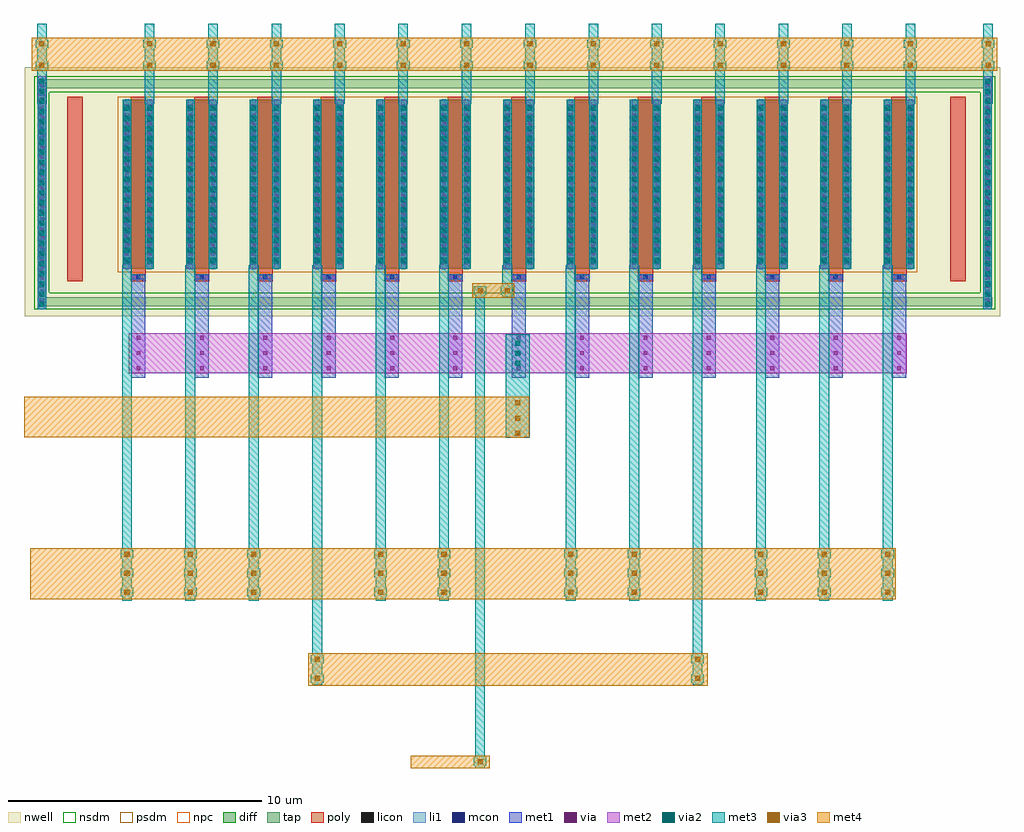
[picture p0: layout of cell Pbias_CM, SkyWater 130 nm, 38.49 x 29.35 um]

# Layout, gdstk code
from math import pi, radians
import gdstk
lib = gdstk.Library(unit=1e-6, precision=1e-09)
def R(c, l, rs):  # rectangles x0, y0, x1, y1
    for r in rs: c.add(gdstk.rectangle(r[:2], r[2:], *l))
def A(c, l, x, y, w, h, nx, ny, dx, dy):  # array of equal rectangles
    R(c, l, [(x+i*dx, y+j*dy, x+i*dx+w, y+j*dy+h) for i in range(nx) for j in range(ny)])
nwell = (64, 20)
diff = (65, 20)
tap = (65, 44)
poly = (66, 20)
licon = (66, 44)
li1 = (67, 20)
mcon = (67, 44)
met1 = (68, 20)
via = (68, 44)
met2 = (69, 20)
via2 = (69, 44)
met3 = (70, 20)
via3 = (70, 44)
met4 = (71, 20)
nsdm = (93, 44)
psdm = (94, 20)
npc = (95, 20)

via_new_4 = lib.new_cell('via_new$4')
A(via_new_4, via2, 0.25, -0.1, 0.2, 0.2, 3, 1, 0.4, 0)
via_new_4.add(gdstk.FlexPath([(0,0),(1.5,0)], 0.33, ends="flush", simple_path=True, layer=70, datatype=20))  # met3
via_new_4.add(gdstk.FlexPath([(0,0),(1.5,0)], 0.33, ends="flush", simple_path=True, layer=69, datatype=20))  # met2

via_new_2 = lib.new_cell('via_new$2')
R(via_new_2, via3, [(0.15,-0.1,0.35,0.1)])
via_new_2.add(gdstk.FlexPath([(0,0),(0.5,0)], 0.33, ends="flush", simple_path=True, layer=70, datatype=20))  # met3
via_new_2.add(gdstk.FlexPath([(0,0),(0.5,0)], 0.33, ends="flush", simple_path=True, layer=71, datatype=20))  # met4

via_new = lib.new_cell('via_new')
R(via_new, via, [(0.175,-0.075,0.325,0.075)])
via_new.add(gdstk.FlexPath([(0,0),(0.5,0)], 0.33, ends="flush", simple_path=True, layer=68, datatype=20))  # met1
via_new.add(gdstk.FlexPath([(0,0),(0.5,0)], 0.33, ends="flush", simple_path=True, layer=69, datatype=20))  # met2

via_new_1 = lib.new_cell('via_new$1')
A(via_new_1, via, 0.215, -0.075, 0.15, 0.15, 20, 1, 0.32, 0)
A(via_new_1, via2, 0.23, -0.1, 0.2, 0.2, 16, 1, 0.4, 0)
via_new_1.add(gdstk.FlexPath([(0,0),(6.66,0)], 0.33, ends="flush", simple_path=True, layer=68, datatype=20))  # met1
via_new_1.add(gdstk.FlexPath([(0,0),(6.66,0)], 0.33, ends="flush", simple_path=True, layer=70, datatype=20))  # met3
via_new_1.add(gdstk.FlexPath([(0,0),(6.66,0)], 0.33, ends="flush", simple_path=True, layer=69, datatype=20))  # met2

via_new_6 = lib.new_cell('via_new$6')
A(via_new_6, licon, 0.138, -0.085, 0.17, 0.17, 26, 1, 0.34, 0)
A(via_new_6, mcon, 0.068, -0.085, 0.17, 0.17, 25, 1, 0.36, 0)
via_new_6.add(gdstk.FlexPath([(0,0),(8.947,0)], 0.33, ends="flush", simple_path=True, layer=68, datatype=20))  # met1
via_new_6.add(gdstk.FlexPath([(-0.125,0),(9.072,0)], 0.58, ends="flush", simple_path=True, layer=64, datatype=20))  # nwell
via_new_6.add(gdstk.FlexPath([(-0.125,0),(9.072,0)], 0.58, ends="flush", simple_path=True, layer=64, datatype=20))  # nwell
via_new_6.add(gdstk.FlexPath([(0,0),(8.947,0)], 0.33, ends="flush", simple_path=True, layer=67, datatype=20))  # li1
via_new_6.add(gdstk.FlexPath([(-0.125,0),(9.072,0)], 0.58, ends="flush", simple_path=True, layer=93, datatype=44))  # nsdm
via_new_6.add(gdstk.FlexPath([(0,0),(8.947,0)], 0.33, ends="flush", simple_path=True, layer=65, datatype=44))  # tap

via_new_8 = lib.new_cell('via_new$8')
A(via_new_8, via, 0.205, -0.075, 0.15, 0.15, 28, 1, 0.32, 0)
A(via_new_8, via2, 0.1, -0.1, 0.2, 0.2, 23, 1, 0.4, 0)
via_new_8.add(gdstk.FlexPath([(0,0),(9.2,0)], 0.33, ends="flush", simple_path=True, layer=68, datatype=20))  # met1
via_new_8.add(gdstk.FlexPath([(0,0),(9.2,0)], 0.33, ends="flush", simple_path=True, layer=70, datatype=20))  # met3
via_new_8.add(gdstk.FlexPath([(0,0),(9.2,0)], 0.33, ends="flush", simple_path=True, layer=69, datatype=20))  # met2

pbias_cm = lib.new_cell('Pbias_CM')
R(pbias_cm, nwell, [(-16.88,-4.069,21.583,5.748)])
A(pbias_cm, diff, -12.99, -2.209, 1.18, 6.66, 13, 1, 2.5, 0)
R(pbias_cm, tap, [(-16.37,-3.678,21.268,-3.326), (-16.37,4.918,21.268,5.27)])
A(pbias_cm, poly, -15.2, -2.694, 0.6, 7.275, 14, 1, 2.5, 0)
R(pbias_cm, poly, [(19.624,-2.694,20.224,4.581)])
A(pbias_cm, licon, -12.485, -2.614, 0.17, 0.17, 13, 1, 2.5, 0)
A(pbias_cm, licon, -12.93, -2.024, 0.17, 0.17, 1, 19, 0, 0.34)
A(pbias_cm, licon, -12.04, -2.024, 0.17, 0.17, 1, 19, 0, 0.34)
A(pbias_cm, licon, -10.43, -2.024, 0.17, 0.17, 1, 19, 0, 0.34)
A(pbias_cm, licon, -9.54, -2.024, 0.17, 0.17, 1, 19, 0, 0.34)
A(pbias_cm, licon, -7.93, -2.024, 0.17, 0.17, 1, 19, 0, 0.34)
A(pbias_cm, licon, -7.04, -2.024, 0.17, 0.17, 1, 19, 0, 0.34)
A(pbias_cm, licon, -5.43, -2.024, 0.17, 0.17, 1, 19, 0, 0.34)
A(pbias_cm, licon, -4.54, -2.024, 0.17, 0.17, 1, 19, 0, 0.34)
A(pbias_cm, licon, -2.93, -2.024, 0.17, 0.17, 1, 19, 0, 0.34)
A(pbias_cm, licon, -2.04, -2.024, 0.17, 0.17, 1, 19, 0, 0.34)
A(pbias_cm, licon, -0.43, -2.024, 0.17, 0.17, 1, 19, 0, 0.34)
A(pbias_cm, licon, 0.46, -2.024, 0.17, 0.17, 1, 19, 0, 0.34)
A(pbias_cm, licon, 2.07, -2.024, 0.17, 0.17, 1, 19, 0, 0.34)
A(pbias_cm, licon, 2.96, -2.024, 0.17, 0.17, 1, 19, 0, 0.34)
A(pbias_cm, licon, 4.57, -2.024, 0.17, 0.17, 1, 19, 0, 0.34)
A(pbias_cm, licon, 5.46, -2.024, 0.17, 0.17, 1, 19, 0, 0.34)
A(pbias_cm, licon, 7.07, -2.024, 0.17, 0.17, 1, 19, 0, 0.34)
A(pbias_cm, licon, 7.96, -2.024, 0.17, 0.17, 1, 19, 0, 0.34)
A(pbias_cm, licon, 9.57, -2.024, 0.17, 0.17, 1, 19, 0, 0.34)
A(pbias_cm, licon, 10.46, -2.024, 0.17, 0.17, 1, 19, 0, 0.34)
A(pbias_cm, licon, 12.07, -2.024, 0.17, 0.17, 1, 19, 0, 0.34)
A(pbias_cm, licon, 12.96, -2.024, 0.17, 0.17, 1, 19, 0, 0.34)
A(pbias_cm, licon, 14.57, -2.024, 0.17, 0.17, 1, 19, 0, 0.34)
A(pbias_cm, licon, 15.46, -2.024, 0.17, 0.17, 1, 19, 0, 0.34)
A(pbias_cm, licon, 17.07, -2.024, 0.17, 0.17, 1, 19, 0, 0.34)
A(pbias_cm, licon, 17.96, -2.024, 0.17, 0.17, 1, 19, 0, 0.34)
A(pbias_cm, li1, -12.7, -2.614, 0.6, 0.17, 13, 1, 2.5, 0)
R(pbias_cm, li1, [(-12.93,-2.229,-12.76,4.471), (-12.04,-2.229,-11.87,4.471), (-10.43,-2.229,-10.26,4.471), (-9.54,-2.229,-9.37,4.471), (-7.93,-2.229,-7.76,4.471), (-7.04,-2.229,-6.87,4.471), (-5.43,-2.229,-5.26,4.471), (-4.54,-2.229,-4.37,4.471), (-2.93,-2.229,-2.76,4.471), (-2.04,-2.229,-1.87,4.471), (-0.43,-2.229,-0.26,4.471), (0.46,-2.229,0.63,4.471), (2.07,-2.229,2.24,4.471), (2.96,-2.229,3.13,4.471), (4.57,-2.229,4.74,4.471), (5.46,-2.229,5.63,4.471), (7.07,-2.229,7.24,4.471), (7.96,-2.229,8.13,4.471), (9.57,-2.229,9.74,4.471), (10.46,-2.229,10.63,4.471), (12.07,-2.229,12.24,4.471), (12.96,-2.229,13.13,4.471), (14.57,-2.229,14.74,4.471), (15.46,-2.229,15.63,4.471), (17.07,-2.229,17.24,4.471), (17.96,-2.229,18.13,4.471)])
A(pbias_cm, mcon, -12.485, -2.614, 0.17, 0.17, 13, 1, 2.5, 0)
A(pbias_cm, mcon, -12.93, -2.024, 0.17, 0.17, 1, 18, 0, 0.36)
A(pbias_cm, mcon, -12.04, -2.024, 0.17, 0.17, 1, 18, 0, 0.36)
A(pbias_cm, mcon, -10.43, -2.024, 0.17, 0.17, 1, 18, 0, 0.36)
A(pbias_cm, mcon, -9.54, -2.024, 0.17, 0.17, 1, 18, 0, 0.36)
A(pbias_cm, mcon, -7.93, -2.024, 0.17, 0.17, 1, 18, 0, 0.36)
A(pbias_cm, mcon, -7.04, -2.024, 0.17, 0.17, 1, 18, 0, 0.36)
A(pbias_cm, mcon, -5.43, -2.024, 0.17, 0.17, 1, 18, 0, 0.36)
A(pbias_cm, mcon, -4.54, -2.024, 0.17, 0.17, 1, 18, 0, 0.36)
A(pbias_cm, mcon, -2.93, -2.024, 0.17, 0.17, 1, 18, 0, 0.36)
A(pbias_cm, mcon, -2.04, -2.024, 0.17, 0.17, 1, 18, 0, 0.36)
A(pbias_cm, mcon, -0.43, -2.024, 0.17, 0.17, 1, 18, 0, 0.36)
A(pbias_cm, mcon, 0.46, -2.024, 0.17, 0.17, 1, 18, 0, 0.36)
A(pbias_cm, mcon, 2.07, -2.024, 0.17, 0.17, 1, 18, 0, 0.36)
A(pbias_cm, mcon, 2.96, -2.024, 0.17, 0.17, 1, 18, 0, 0.36)
A(pbias_cm, mcon, 4.57, -2.024, 0.17, 0.17, 1, 18, 0, 0.36)
A(pbias_cm, mcon, 5.46, -2.024, 0.17, 0.17, 1, 18, 0, 0.36)
A(pbias_cm, mcon, 7.07, -2.024, 0.17, 0.17, 1, 18, 0, 0.36)
A(pbias_cm, mcon, 7.96, -2.024, 0.17, 0.17, 1, 18, 0, 0.36)
A(pbias_cm, mcon, 9.57, -2.024, 0.17, 0.17, 1, 18, 0, 0.36)
A(pbias_cm, mcon, 10.46, -2.024, 0.17, 0.17, 1, 18, 0, 0.36)
A(pbias_cm, mcon, 12.07, -2.024, 0.17, 0.17, 1, 18, 0, 0.36)
A(pbias_cm, mcon, 12.96, -2.024, 0.17, 0.17, 1, 18, 0, 0.36)
A(pbias_cm, mcon, 14.57, -2.024, 0.17, 0.17, 1, 18, 0, 0.36)
A(pbias_cm, mcon, 15.46, -2.024, 0.17, 0.17, 1, 18, 0, 0.36)
A(pbias_cm, mcon, 17.07, -2.024, 0.17, 0.17, 1, 18, 0, 0.36)
A(pbias_cm, mcon, 17.96, -2.024, 0.17, 0.17, 1, 18, 0, 0.36)
A(pbias_cm, met1, -12.68, -6.512, 0.56, 4.098, 13, 1, 2.5, 0)
R(pbias_cm, met1, [(-12.96,-2.209,-12.73,4.451), (-12.96,-2.209,-12.73,4.451), (-12.07,-2.209,-11.84,4.451), (-10.46,-2.209,-10.23,4.451), (-10.46,-2.209,-10.23,4.451), (-9.57,-2.209,-9.34,4.451), (-7.96,-2.209,-7.73,4.451), (-7.96,-2.209,-7.73,4.451), (-7.07,-2.209,-6.84,4.451), (-5.46,-2.209,-5.23,4.451), (-5.46,-2.209,-5.23,4.451), (-4.57,-2.209,-4.34,4.451), (-2.96,-2.209,-2.73,4.451), (-2.96,-2.209,-2.73,4.451), (-2.07,-2.209,-1.84,4.451), (-0.46,-2.209,-0.23,4.451), (-0.46,-2.209,-0.23,4.451), (0.43,-2.209,0.66,4.451), (2.04,-2.209,2.27,4.451), (2.04,-2.209,2.27,4.451), (2.93,-2.209,3.16,4.451), (4.54,-2.209,4.77,4.451), (4.54,-2.209,4.77,4.451), (5.43,-2.209,5.66,4.451), (7.04,-2.209,7.27,4.451), (7.04,-2.209,7.27,4.451), (7.93,-2.209,8.16,4.451), (9.54,-2.209,9.77,4.451), (9.54,-2.209,9.77,4.451), (10.43,-2.209,10.66,4.451), (12.04,-2.209,12.27,4.451), (12.04,-2.209,12.27,4.451), (12.93,-2.209,13.16,4.451), (14.54,-2.209,14.77,4.451), (14.54,-2.209,14.77,4.451), (15.43,-2.209,15.66,4.451), (17.04,-2.209,17.27,4.451), (17.93,-2.209,18.16,4.451)])
R(pbias_cm, met2, [(-12.784,-6.329,17.898,-4.744)])
A(pbias_cm, met3, -13.039, -15.302, 0.388, 13.238, 3, 1, 2.5, 0)
A(pbias_cm, met3, 11.961, -15.302, 0.388, 13.238, 3, 1, 2.5, 0)
A(pbias_cm, met3, -12.143, 4.304, 0.377, 3.149, 13, 1, 2.5, 0)
R(pbias_cm, met3, [(0.884,-21.898,1.272,-2.903), (-5.539,-18.618,-5.151,-2.064), (9.461,-18.616,9.849,-2.064), (-3.039,-15.302,-2.651,-2.064), (-0.539,-15.302,-0.151,-2.064), (4.461,-15.302,4.849,-2.064), (6.961,-15.302,7.349,-2.064), (2.083,-8.861,3.032,-4.782), (1.961,-3.333,2.349,-2.064), (-16.393,4.304,-16.016,7.453), (20.914,4.304,21.291,7.453)])
R(pbias_cm, met4, [(-1.648,-21.899,1.468,-21.41), (-5.691,-18.648,10.05,-17.363), (-16.653,-15.237,17.467,-13.221), (-16.908,-8.857,3.016,-7.254), (0.772,-3.356,2.424,-2.769), (-16.602,5.606,21.475,6.897)])
R(pbias_cm, nsdm, [(-16.494,-3.811,21.385,-3.149), (-16.494,4.75,21.385,5.393)])
R(pbias_cm, psdm, [(-13.205,-2.334,18.316,4.576)])
A(pbias_cm, npc, -12.585, -2.714, 0.37, 0.37, 13, 1, 2.5, 0)
pbias_cm.add(gdstk.Reference(via_new_4, (2.557,-4.787), rotation=3*pi/2))
pbias_cm.add(gdstk.Reference(via_new_2, (2.308,-8.696)))
pbias_cm.add(gdstk.Reference(via_new_2, (2.308,-8.096)))
pbias_cm.add(gdstk.Reference(via_new_2, (2.308,-7.496)))
pbias_cm.add(gdstk.Reference(via_new, (2.35,-4.93)))
pbias_cm.add(gdstk.Reference(via_new, (2.35,-5.53)))
pbias_cm.add(gdstk.Reference(via_new, (2.35,-6.13)))
pbias_cm.add(gdstk.Reference(via_new_1, (15.545,-2.209), rotation=pi/2, x_reflection=True))
pbias_cm.add(gdstk.Reference(via_new_1, (13.045,-2.209), rotation=pi/2, x_reflection=True))
pbias_cm.add(gdstk.Reference(via_new_1, (10.545,-2.209), rotation=pi/2, x_reflection=True))
pbias_cm.add(gdstk.Reference(via_new_1, (8.045,-2.209), rotation=pi/2, x_reflection=True))
pbias_cm.add(gdstk.Reference(via_new_1, (5.545,-2.209), rotation=pi/2, x_reflection=True))
pbias_cm.add(gdstk.Reference(via_new_1, (3.045,-2.209), rotation=pi/2, x_reflection=True))
pbias_cm.add(gdstk.Reference(via_new_2, (17.796,6.669), x_reflection=True))
pbias_cm.add(gdstk.Reference(via_new_2, (17.796,5.822), x_reflection=True))
pbias_cm.add(gdstk.Reference(via_new_2, (15.296,5.822), x_reflection=True))
pbias_cm.add(gdstk.Reference(via_new_2, (12.796,5.822), x_reflection=True))
pbias_cm.add(gdstk.Reference(via_new_2, (10.296,5.822), x_reflection=True))
pbias_cm.add(gdstk.Reference(via_new_2, (7.796,5.822), x_reflection=True))
pbias_cm.add(gdstk.Reference(via_new_2, (5.296,5.822), x_reflection=True))
pbias_cm.add(gdstk.Reference(via_new_2, (2.796,5.822), x_reflection=True))
pbias_cm.add(gdstk.Reference(via_new_2, (15.296,6.669), x_reflection=True))
pbias_cm.add(gdstk.Reference(via_new_2, (12.796,6.669), x_reflection=True))
pbias_cm.add(gdstk.Reference(via_new_2, (10.296,6.669), x_reflection=True))
pbias_cm.add(gdstk.Reference(via_new_2, (7.796,6.669), x_reflection=True))
pbias_cm.add(gdstk.Reference(via_new_2, (5.296,6.669), x_reflection=True))
pbias_cm.add(gdstk.Reference(via_new_2, (2.796,6.669), x_reflection=True))
pbias_cm.add(gdstk.Reference(via_new_1, (14.655,-2.209), rotation=pi/2, x_reflection=True))
pbias_cm.add(gdstk.Reference(via_new_1, (12.155,-2.209), rotation=pi/2, x_reflection=True))
pbias_cm.add(gdstk.Reference(via_new_1, (9.655,-2.209), rotation=pi/2, x_reflection=True))
pbias_cm.add(gdstk.Reference(via_new_1, (7.155,-2.209), rotation=pi/2, x_reflection=True))
pbias_cm.add(gdstk.Reference(via_new_1, (4.655,-2.209), rotation=pi/2, x_reflection=True))
pbias_cm.add(gdstk.Reference(via_new_1, (17.155,-2.209), rotation=pi/2, x_reflection=True))
pbias_cm.add(gdstk.Reference(via_new, (17.35,-4.93)))
pbias_cm.add(gdstk.Reference(via_new, (17.35,-5.53)))
pbias_cm.add(gdstk.Reference(via_new, (17.35,-6.13)))
pbias_cm.add(gdstk.Reference(via_new, (14.85,-4.93)))
pbias_cm.add(gdstk.Reference(via_new, (12.35,-4.93)))
pbias_cm.add(gdstk.Reference(via_new, (9.85,-4.93)))
pbias_cm.add(gdstk.Reference(via_new, (7.35,-4.93)))
pbias_cm.add(gdstk.Reference(via_new, (14.85,-5.53)))
pbias_cm.add(gdstk.Reference(via_new, (12.35,-5.53)))
pbias_cm.add(gdstk.Reference(via_new, (9.85,-5.53)))
pbias_cm.add(gdstk.Reference(via_new, (7.35,-5.53)))
pbias_cm.add(gdstk.Reference(via_new, (14.85,-6.13)))
pbias_cm.add(gdstk.Reference(via_new, (12.35,-6.13)))
pbias_cm.add(gdstk.Reference(via_new, (9.85,-6.13)))
pbias_cm.add(gdstk.Reference(via_new, (7.35,-6.13)))
pbias_cm.add(gdstk.Reference(via_new_1, (18.045,-2.209), rotation=pi/2, x_reflection=True))
pbias_cm.add(gdstk.Reference(via_new_1, (15.545,-2.209), rotation=pi/2, x_reflection=True))
pbias_cm.add(gdstk.Reference(via_new_1, (13.045,-2.209), rotation=pi/2, x_reflection=True))
pbias_cm.add(gdstk.Reference(via_new_1, (10.545,-2.209), rotation=pi/2, x_reflection=True))
pbias_cm.add(gdstk.Reference(via_new, (4.85,-4.93)))
pbias_cm.add(gdstk.Reference(via_new_1, (8.045,-2.209), rotation=pi/2, x_reflection=True))
pbias_cm.add(gdstk.Reference(via_new, (4.85,-5.53)))
pbias_cm.add(gdstk.Reference(via_new_1, (5.545,-2.209), rotation=pi/2, x_reflection=True))
pbias_cm.add(gdstk.Reference(via_new, (4.85,-6.13)))
pbias_cm.add(gdstk.Reference(via_new_1, (3.045,-2.209), rotation=pi/2, x_reflection=True))
pbias_cm.add(gdstk.Reference(via_new_6, (21.096,5.268), rotation=3*pi/2))
pbias_cm.add(gdstk.Reference(via_new_8, (21.096,5.395), rotation=3*pi/2))
pbias_cm.add(gdstk.Reference(via_new_2, (20.863,6.669), x_reflection=True))
pbias_cm.add(gdstk.Reference(via_new_2, (20.863,5.822), x_reflection=True))
pbias_cm.add(gdstk.Reference(via_new_1, (-1.955,-2.209), rotation=pi/2, x_reflection=True))
pbias_cm.add(gdstk.Reference(via_new_2, (0.296,5.822), x_reflection=True))
pbias_cm.add(gdstk.Reference(via_new_2, (-2.204,5.822), x_reflection=True))
pbias_cm.add(gdstk.Reference(via_new_2, (-4.704,5.822), x_reflection=True))
pbias_cm.add(gdstk.Reference(via_new_2, (-7.204,5.822), x_reflection=True))
pbias_cm.add(gdstk.Reference(via_new_2, (-9.704,5.822), x_reflection=True))
pbias_cm.add(gdstk.Reference(via_new_2, (-12.204,5.822), x_reflection=True))
pbias_cm.add(gdstk.Reference(via_new_1, (-4.455,-2.209), rotation=pi/2, x_reflection=True))
pbias_cm.add(gdstk.Reference(via_new_1, (-6.955,-2.209), rotation=pi/2, x_reflection=True))
pbias_cm.add(gdstk.Reference(via_new_1, (-9.455,-2.209), rotation=pi/2, x_reflection=True))
pbias_cm.add(gdstk.Reference(via_new_1, (-11.955,-2.209), rotation=pi/2, x_reflection=True))
pbias_cm.add(gdstk.Reference(via_new_1, (0.545,-2.209), rotation=pi/2, x_reflection=True))
pbias_cm.add(gdstk.Reference(via_new_1, (-1.955,-2.209), rotation=pi/2, x_reflection=True))
pbias_cm.add(gdstk.Reference(via_new_2, (0.296,6.669), x_reflection=True))
pbias_cm.add(gdstk.Reference(via_new_2, (-2.204,6.669), x_reflection=True))
pbias_cm.add(gdstk.Reference(via_new_2, (-4.704,6.669), x_reflection=True))
pbias_cm.add(gdstk.Reference(via_new, (-2.64,-4.93)))
pbias_cm.add(gdstk.Reference(via_new, (-2.64,-5.53)))
pbias_cm.add(gdstk.Reference(via_new, (-2.64,-6.13)))
pbias_cm.add(gdstk.Reference(via_new, (-5.14,-4.93)))
pbias_cm.add(gdstk.Reference(via_new, (-7.64,-4.93)))
pbias_cm.add(gdstk.Reference(via_new, (-10.14,-4.93)))
pbias_cm.add(gdstk.Reference(via_new, (-12.64,-4.93)))
pbias_cm.add(gdstk.Reference(via_new, (-5.14,-5.53)))
pbias_cm.add(gdstk.Reference(via_new, (-7.64,-5.53)))
pbias_cm.add(gdstk.Reference(via_new, (-10.14,-5.53)))
pbias_cm.add(gdstk.Reference(via_new, (-12.64,-5.53)))
pbias_cm.add(gdstk.Reference(via_new, (-5.14,-6.13)))
pbias_cm.add(gdstk.Reference(via_new, (-7.64,-6.13)))
pbias_cm.add(gdstk.Reference(via_new, (-10.14,-6.13)))
pbias_cm.add(gdstk.Reference(via_new, (-12.64,-6.13)))
pbias_cm.add(gdstk.Reference(via_new_2, (-7.204,6.669), x_reflection=True))
pbias_cm.add(gdstk.Reference(via_new_2, (-9.704,6.669), x_reflection=True))
pbias_cm.add(gdstk.Reference(via_new_2, (-12.204,6.669), x_reflection=True))
pbias_cm.add(gdstk.Reference(via_new_1, (-4.455,-2.209), rotation=pi/2, x_reflection=True))
pbias_cm.add(gdstk.Reference(via_new_2, (1.895,-3.068)))
pbias_cm.add(gdstk.Reference(via_new_2, (0.828,-3.068)))
pbias_cm.add(gdstk.Reference(via_new_1, (-6.955,-2.209), rotation=pi/2, x_reflection=True))
pbias_cm.add(gdstk.Reference(via_new_1, (-9.455,-2.209), rotation=pi/2, x_reflection=True))
pbias_cm.add(gdstk.Reference(via_new, (-0.15,-4.93)))
pbias_cm.add(gdstk.Reference(via_new_1, (-11.955,-2.209), rotation=pi/2, x_reflection=True))
pbias_cm.add(gdstk.Reference(via_new_1, (0.545,-2.209), rotation=pi/2, x_reflection=True))
pbias_cm.add(gdstk.Reference(via_new, (-0.15,-5.53)))
pbias_cm.add(gdstk.Reference(via_new_1, (2.155,-2.209), rotation=pi/2, x_reflection=True))
pbias_cm.add(gdstk.Reference(via_new_1, (-0.345,-2.209), rotation=pi/2, x_reflection=True))
pbias_cm.add(gdstk.Reference(via_new, (-0.15,-6.13)))
pbias_cm.add(gdstk.Reference(via_new_6, (-16.204,5.268), rotation=3*pi/2))
pbias_cm.add(gdstk.Reference(via_new_1, (-2.845,-2.209), rotation=pi/2, x_reflection=True))
pbias_cm.add(gdstk.Reference(via_new_8, (-16.204,5.394), rotation=3*pi/2))
pbias_cm.add(gdstk.Reference(via_new_1, (-5.345,-2.209), rotation=pi/2, x_reflection=True))
pbias_cm.add(gdstk.Reference(via_new_8, (-16.204,5.394), rotation=3*pi/2))
pbias_cm.add(gdstk.Reference(via_new_6, (-16.204,5.268), rotation=3*pi/2))
pbias_cm.add(gdstk.Reference(via_new_1, (-7.845,-2.209), rotation=pi/2, x_reflection=True))
pbias_cm.add(gdstk.Reference(via_new_1, (-10.345,-2.209), rotation=pi/2, x_reflection=True))
pbias_cm.add(gdstk.Reference(via_new_1, (-12.845,-2.209), rotation=pi/2, x_reflection=True))
pbias_cm.add(gdstk.Reference(via_new_2, (-16.452,5.822), x_reflection=True))
pbias_cm.add(gdstk.Reference(via_new_2, (-16.452,6.669), x_reflection=True))
pbias_cm.add(gdstk.Reference(via_new_2, (-3.095,-14.957)))
pbias_cm.add(gdstk.Reference(via_new_2, (-3.095,-14.957)))
pbias_cm.add(gdstk.Reference(via_new_2, (-3.095,-14.207)))
pbias_cm.add(gdstk.Reference(via_new_2, (-3.095,-13.457)))
pbias_cm.add(gdstk.Reference(via_new_2, (-0.595,-14.957)))
pbias_cm.add(gdstk.Reference(via_new_2, (-8.095,-14.957)))
pbias_cm.add(gdstk.Reference(via_new_2, (-10.595,-14.957)))
pbias_cm.add(gdstk.Reference(via_new_2, (-13.095,-14.957)))
pbias_cm.add(gdstk.Reference(via_new_2, (-0.595,-14.957)))
pbias_cm.add(gdstk.Reference(via_new_2, (-5.595,-17.607)))
pbias_cm.add(gdstk.Reference(via_new_2, (-5.595,-18.357)))
pbias_cm.add(gdstk.Reference(via_new_2, (0.828,-21.639)))
pbias_cm.add(gdstk.Reference(via_new_2, (-8.095,-14.957)))
pbias_cm.add(gdstk.Reference(via_new_2, (-10.595,-14.957)))
pbias_cm.add(gdstk.Reference(via_new_2, (-13.095,-14.957)))
pbias_cm.add(gdstk.Reference(via_new_2, (-0.595,-14.207)))
pbias_cm.add(gdstk.Reference(via_new_2, (-8.095,-14.207)))
pbias_cm.add(gdstk.Reference(via_new_2, (-10.595,-14.207)))
pbias_cm.add(gdstk.Reference(via_new_2, (-13.095,-14.207)))
pbias_cm.add(gdstk.Reference(via_new_2, (-0.595,-13.457)))
pbias_cm.add(gdstk.Reference(via_new_2, (-8.095,-13.457)))
pbias_cm.add(gdstk.Reference(via_new_2, (-10.595,-13.457)))
pbias_cm.add(gdstk.Reference(via_new_2, (-13.095,-13.457)))
pbias_cm.add(gdstk.Reference(via_new_2, (16.905,-13.457)))
pbias_cm.add(gdstk.Reference(via_new_2, (14.405,-14.957)))
pbias_cm.add(gdstk.Reference(via_new_2, (11.905,-14.957)))
pbias_cm.add(gdstk.Reference(via_new_2, (4.405,-14.957)))
pbias_cm.add(gdstk.Reference(via_new_2, (6.905,-14.957)))
pbias_cm.add(gdstk.Reference(via_new_2, (14.405,-14.957)))
pbias_cm.add(gdstk.Reference(via_new_2, (9.405,-17.607)))
pbias_cm.add(gdstk.Reference(via_new_2, (9.405,-18.357)))
pbias_cm.add(gdstk.Reference(via_new_2, (11.905,-14.957)))
pbias_cm.add(gdstk.Reference(via_new_2, (4.405,-14.957)))
pbias_cm.add(gdstk.Reference(via_new_2, (6.905,-14.957)))
pbias_cm.add(gdstk.Reference(via_new_2, (14.405,-14.207)))
pbias_cm.add(gdstk.Reference(via_new_2, (11.905,-14.207)))
pbias_cm.add(gdstk.Reference(via_new_2, (4.405,-14.207)))
pbias_cm.add(gdstk.Reference(via_new_2, (6.905,-14.207)))
pbias_cm.add(gdstk.Reference(via_new_2, (14.405,-13.457)))
pbias_cm.add(gdstk.Reference(via_new_2, (11.905,-13.457)))
pbias_cm.add(gdstk.Reference(via_new_2, (4.405,-13.457)))
pbias_cm.add(gdstk.Reference(via_new_2, (6.905,-13.457)))
pbias_cm.add(gdstk.Reference(via_new_2, (16.905,-14.957)))
pbias_cm.add(gdstk.Reference(via_new_2, (16.905,-14.957)))
pbias_cm.add(gdstk.Reference(via_new_2, (16.905,-14.207)))

lib.write_gds('Pbias_CM.gds')
